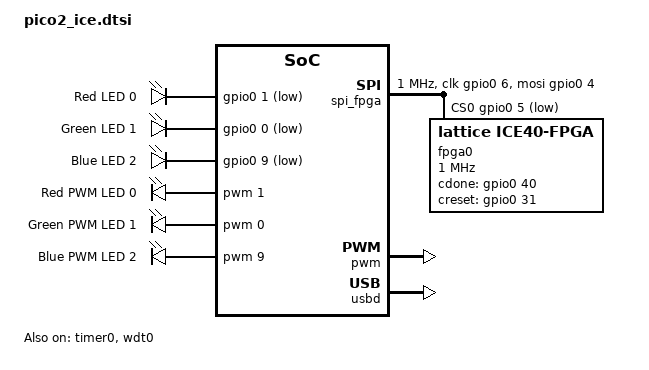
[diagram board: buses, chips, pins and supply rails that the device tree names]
/*
 * Copyright (c) 2025 tinyVision.ai
 *
 * SPDX-License-Identifier: Apache-2.0
 */

#include <freq.h>

#include <zephyr/dt-bindings/i2c/i2c.h>
#include <zephyr/dt-bindings/pwm/pwm.h>

#include "pico2_ice-pinctrl.dtsi"

/ {
	chosen {
		zephyr,sram = &sram0;
		zephyr,flash = &flash0;
		zephyr,console = &cdc_acm_uart0;
		zephyr,shell-uart = &cdc_acm_uart0;
		zephyr,code-partition = &code_partition;
	};

	leds {
		compatible = "gpio-leds";
		led0_red: led_0 {
			gpios = <&gpio0 1 GPIO_ACTIVE_LOW>;
			label = "Red LED 0";
		};
		led1_green: led_1 {
			gpios = <&gpio0 0 GPIO_ACTIVE_LOW>;
			label = "Green LED 1";
		};
		led2_blue: led_2 {
			gpios = <&gpio0 9 GPIO_ACTIVE_LOW>;
			label = "Blue LED 2";
		};
	};

	pwmleds {
		compatible = "pwm-leds";
		pwm_led0_red: pwm_led_0 {
			pwms = <&pwm 1 PWM_MSEC(20) PWM_POLARITY_INVERTED>;
			label = "Red PWM LED 0";
		};
		pwm_led1_green: pwm_led_1 {
			pwms = <&pwm 0 PWM_MSEC(20) PWM_POLARITY_INVERTED>;
			label = "Green PWM LED 1";
		};
		pwm_led2_blue: pwm_led_2 {
			pwms = <&pwm 9 PWM_MSEC(20) PWM_POLARITY_INVERTED>;
			label = "Blue PWM LED 2";
		};
	};

	/* As to not interfere with FPGA flash boot,
	 * the CRAM interface is a deferred init.
	 * To use the FPGA CRAM, it needs to be initialized
	 */
	spi_fpga: spi_bitbang {
		compatible = "zephyr,spi-bitbang";
		status = "okay";
		#address-cells = <1>;
		#size-cells = <0>;
		clock-frequency = <DT_FREQ_M(1)>;
		clk-gpios = <&gpio0 6 0>;
		mosi-gpios = <&gpio0 4 0>;
		cs-gpios = <&gpio0 5 GPIO_ACTIVE_LOW>;
		zephyr,deferred-init;

		fpga0: ice40@0 {
			status = "okay";
			compatible = "lattice,ice40-fpga";
			reg = <0x0>;
			spi-max-frequency = <DT_FREQ_M(1)>;

			cdone-gpios = <&gpio0 40 0>;
			creset-gpios = <&gpio0 31 0>;
			config-delay-us = <3900>;
		};
	};

	aliases {
		watchdog0 = &wdt0;
		led0 = &led0_red;
		led1 = &led1_green;
		led2 = &led2_blue;
		pwm-led0 = &pwm_led0_red;
		pwm-led1 = &pwm_led1_green;
		pwm-led2 = &pwm_led2_blue;
		green-pwm-led = &pwm_led1_green;
		red-pwm-led = &pwm_led0_red;
		blue-pwm-led = &pwm_led2_blue;
		fpga = &fpga0;
	};
};

&flash0 {
	reg = <0x10000000 DT_SIZE_M(4)>;

	partitions {
		compatible = "fixed-partitions";
		#address-cells = <1>;
		#size-cells = <1>;

		/* Reserved memory for an image definition block. The block is much
		 * smaller than 256 bytes, but in practice the linker places the vector
		 * table at a much larger alignment offset.
		 */
		image_def: partition@0 {
			label = "image_def";
			reg = <0x00000000 0x100>;
			read-only;
		};

		/*
		 * Usable flash. Starts at 0x100, after the image definition block.
		 * The partition size is 4MB minus the 0x100 bytes taken by the
		 * image definition.
		 */
		code_partition: partition@100 {
			label = "code-partition";
			reg = <0x100 (DT_SIZE_M(4) - 0x100)>;
			read-only;
		};
	};
};

gpio0_lo: &gpio0 {
	status = "okay";
};

&gpio0_hi {
	status = "okay";
};

&clocks {
	pinctrl-0 = <&fpga_gpout0>;
	pinctrl-names = "default";
};

&clk_gpout0 {
	clocks = <&pll_usb>;
	clock-names = "pll_usb";
	clock-frequency = <48000000>;
};

&pwm {
	status = "okay";
	pinctrl-0 = <&pwm_rgbled_default>;
	pinctrl-names = "default";
	divider-int-0 = <255>;
};

&timer0 {
	status = "okay";
};

&wdt0 {
	status = "okay";
};

zephyr_udc0: &usbd {
	status = "okay";
};
#include <../boards/common/usb/cdc_acm_serial.dtsi>
